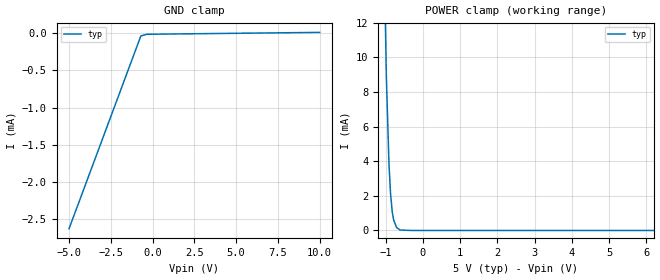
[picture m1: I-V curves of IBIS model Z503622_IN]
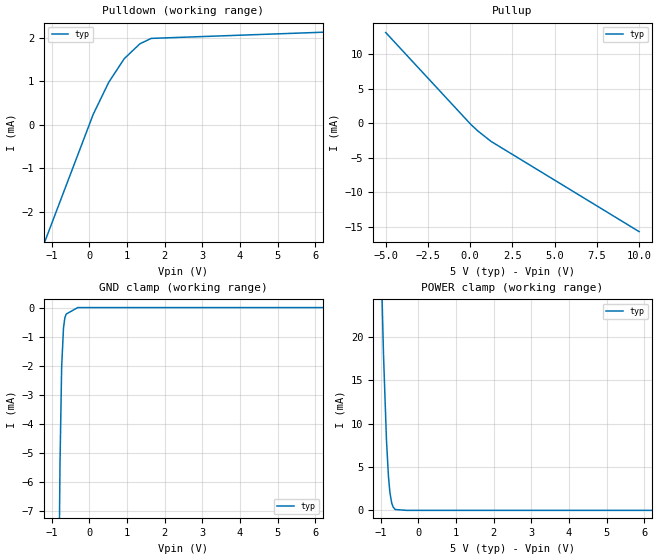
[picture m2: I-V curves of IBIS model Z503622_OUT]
| YOU ARE ONLY AUTHORIZED TO USE THIS SOFTWARE
| ACCORDING TO LICENSOR'S LICENSE RESTRICTIONS.
[IBIS Ver] 3.1
[File Name] mc14512bd.ibs
[File Rev] 2.0
[Source] Measured and created by ICX Technology
[Date] Friday 7/14/00 9:07:56 AM
[Copyright]
| (C) COPYRIGHT 1993-2000
| MENTOR GRAPHICS CORPORATION
| ICX STANDARD LIBRARY, ICX PROJECT MODELING,
| ICX CUSTOM MODELING, ICX VENDOR MODEL
| ALL RIGHTS RESERVED.
| THE FOLLOWING ARE TRADEMARKS OR SERVICE MARKS OF
| MENTOR GRAPHICS CORPORATION:ICX (R), ICX STANDARD
| LIBRARY(R), ICX PROJECT MODELING(R), ICX CUSTOM
| MODELING(R), qualityIBIS(TM), MODELVIEWER(TM),
| AND MODELEDITOR(TM)
| ALL COPIES OF SOFTWARE, INCLUDING BUT NOT LIMITED TO
| ANY MODIFICATIONS, ENHANCEMENTS OR DERIVATIVE WORKS,
| MUST CONTAIN ALL MENTOR GRAPHICS CORPORATION'S
| NOTICES AND LEGENDS, INCLUDING THOSE EMBEDDED IN
| SOFTWARE AND THOSE AFFIXED TO SOFTWARE MEDIUM
| AND CONTAINER, AS RECEIVED FROM MENTOR GRAPHICS
| CORPORATION.
|  ZAP Model Builder 2.7
[Component] MC14512BD
[Manufacturer] OnSemiconductor
[Package]
| variable   typ   min   max
R_pkg  .156ohms NA NA
L_pkg  3.148nH NA NA
C_pkg  .388pF NA NA
[Pin] signal_name  model_name  R_pin  L_pin C_pin
1 X0 Z503622_IN .162 3.798n .418p
2 X1 Z503622_IN .158 3.358n .398p
3 X2 Z503622_IN .154 2.928n .378p
4 X3 Z503622_IN .15 2.508n .358p
5 X4 Z503622_IN .15 2.508n .358p
6 X5 Z503622_IN .154 2.928n .378p
7 X6 Z503622_IN .158 3.358n .398p
8 VSS POWER .162 3.798n .418p
9 X7 Z503622_IN .162 3.798n .418p
10 INH Z503622_IN .158 3.358n .398p
11 A Z503622_IN .154 2.928n .378p
12 B Z503622_IN .15 2.508n .358p
13 C Z503622_IN .15 2.508n .358p
14 Z Z503622_OUT .154 2.928n .378p
15 DISABLE Z503622_IN .158 3.358n .398p
16 VDD POWER .162 3.798n .418p
| Models and submodels in the file (2): Z503622_IN (Input), Z503622_OUT (Output)
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| (C) COPYRIGHT 1993-2000
| MENTOR GRAPHICS CORPORATION
| ICX STANDARD LIBRARY, ICX PROJECT MODELING,
| ICX CUSTOM MODELING, ICX VENDOR MODEL
| ALL RIGHTS RESERVED.
| THE FOLLOWING ARE TRADEMARKS OR SERVICE MARKS OF
| MENTOR GRAPHICS CORPORATION:ICX (R), ICX STANDARD
| LIBRARY(R), ICX PROJECT MODELING(R), ICX CUSTOM
| MODELING(R), qualityIBIS(TM), MODELVIEWER(TM),
| AND MODELEDITOR(TM)
| ALL COPIES OF SOFTWARE, INCLUDING BUT NOT LIMITED TO
| ANY MODIFICATIONS, ENHANCEMENTS OR DERIVATIVE WORKS,
| MUST CONTAIN ALL MENTOR GRAPHICS CORPORATION'S
| NOTICES AND LEGENDS, INCLUDING THOSE EMBEDDED IN
| SOFTWARE AND THOSE AFFIXED TO SOFTWARE MEDIUM
| AND CONTAINER, AS RECEIVED FROM MENTOR GRAPHICS
| CORPORATION.
| Model Application Version 1.89 2/18/99.
[Model] Z503622_IN
Model_type Input
Vinl = 1.500V
Vinh = 3.500V
C_comp 4.000pF NA NA
| variable typ   min   max
[Voltage Range] 5.000V NA NA
[GND Clamp Reference] 0.000V NA NA
[POWER Clamp Reference] 5.000V NA NA
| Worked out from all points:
|   POWER clamp passes 1 mA (typ) near -0.81 V on its own axis
[GND Clamp]
-5V       -2.631mA   NA         NA
-703.1mV  -35.38uA   NA         NA
-351.6mV  -12.19uA   NA         NA
10V       12.97uA    NA         NA
[POWER Clamp]
-5V       492.2mA    NA         NA
-979mV    8.877mA    NA         NA
-908mV    3.816mA    NA         NA
-867mV    2.149mA    NA         NA
-820mV    1.066mA    NA         NA
-784mV    618.3uA    NA         NA
-706mV    173.5uA    NA         NA
-610mV    25.95uA    NA         NA
-305mV    0A         NA         NA
10V       0A         NA         NA
| (C) COPYRIGHT 1993-2000
| MENTOR GRAPHICS CORPORATION
| ICX STANDARD LIBRARY, ICX PROJECT MODELING,
| ICX CUSTOM MODELING, ICX VENDOR MODEL
| ALL RIGHTS RESERVED.
| THE FOLLOWING ARE TRADEMARKS OR SERVICE MARKS OF
| MENTOR GRAPHICS CORPORATION:ICX (R), ICX STANDARD
| LIBRARY(R), ICX PROJECT MODELING(R), ICX CUSTOM
| MODELING(R), qualityIBIS(TM), MODELVIEWER(TM),
| AND MODELEDITOR(TM)
| ALL COPIES OF SOFTWARE, INCLUDING BUT NOT LIMITED TO
| ANY MODIFICATIONS, ENHANCEMENTS OR DERIVATIVE WORKS,
| MUST CONTAIN ALL MENTOR GRAPHICS CORPORATION'S
| NOTICES AND LEGENDS, INCLUDING THOSE EMBEDDED IN
| SOFTWARE AND THOSE AFFIXED TO SOFTWARE MEDIUM
| AND CONTAINER, AS RECEIVED FROM MENTOR GRAPHICS
| CORPORATION.
| Model Application Version 1.89 2/18/99.
[Model] Z503622_OUT
Model_type Output
Vref=0.000V
Rref=500.0Mohms
Cref=50.00pF
Vmeas=2.500V
C_comp 8.000pF NA NA
| variable typ   min   max
[Voltage Range] 5.000V NA NA
[POWER Clamp Reference] 5.000V NA NA
[Pullup Reference] 5.000V NA NA
[Pulldown Reference] 0.000V NA NA
[GND Clamp Reference] 0.000V NA NA
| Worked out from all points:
|   slope of the pulldown table from 0 to 0.75 V, typ, clamps not added: 583 ohm
|   slope of the pullup table from 0 to 0.75 V, typ, clamps not added: 463 ohm
|   GND clamp passes 1 mA (typ) near -0.69 V on its own axis
|   POWER clamp passes 1 mA (typ) near -0.71 V on its own axis
[GND Clamp]
-5V       -579.5mA   NA         NA
-775.9mV  -5.363mA   NA         NA
-732.4mV  -2.055mA   NA         NA
-683.6mV  -711.2uA   NA         NA
-647.7mV  -351.2uA   NA         NA
-610.4mV  -222.4uA   NA         NA
-305.2mV  0A         NA         NA
10V       0A         NA         NA
[Pulldown]
-5V       -11.42mA   NA         NA
104.6mV   238.7uA    NA         NA
517.3mV   978.7uA    NA         NA
927.7mV   1.522mA    NA         NA
1.344V    1.866mA    NA         NA
1.645V    1.991mA    NA         NA
10V       2.252mA    NA         NA
[Pullup]
-5V       13.12mA    NA         NA
44mV      -205uA     NA         NA
454mV     -1.135mA   NA         NA
1.235V    -2.645mA   NA         NA
10V       -15.71mA   NA         NA
[POWER Clamp]
-5V       715.8mA    NA         NA
-923mV    18mA       NA         NA
-844mV    8.099mA    NA         NA
-791mV    3.899mA    NA         NA
-752mV    2.024mA    NA         NA
-703mV    823.6uA    NA         NA
-669mV    404.5uA    NA         NA
-615mV    100.1uA    NA         NA
-307.5mV  0A         NA         NA
10V       0A         NA         NA
[Ramp]
| variable typ min max
dV/dt_r 2.552/52.16n NA NA
dV/dt_f 2.552/44.81n NA NA
R_load = 2.500kOhms
